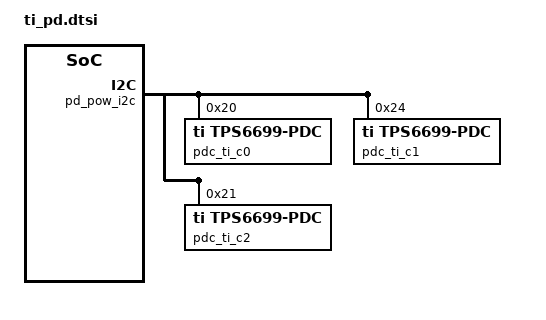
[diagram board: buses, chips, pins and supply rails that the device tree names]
/* Copyright 2026 The ChromiumOS Authors
 * Use of this source code is governed by a BSD-style license that can be
 * found in the LICENSE file.
 */

#include <dt-bindings/gpio_defines.h>

&pd_pow_i2c {
	pdc_ti_c0: tps6699-pdc@20 {
		compatible = "ti,tps6699-pdc";
		reg = <0x20>;
		port-index-on-chip = <0x1>;
		irq-gpios = <PD_POW_IRQ_GPIO GPIO_ACTIVE_LOW>;
		frs-supported;
		ccd;
	};
	pdc_ti_c1: tps6699-pdc@24 {
		compatible = "ti,tps6699-pdc";
		reg = <0x24>;
		port-index-on-chip = <0x2>;
		irq-gpios = <PD_POW_IRQ_GPIO GPIO_ACTIVE_LOW>;
		frs-supported;
		no-fw-update;
	};
	pdc_ti_c2: tps6699-pdc@21 {
		compatible = "ti,tps6699-pdc";
		reg = <0x21>;
		port-index-on-chip = <0x1>;
		irq-gpios = <PD_POW_IRQ_GPIO GPIO_ACTIVE_LOW>;
		frs-supported;
	};
};

&gpio_pdc_pow_irq {
	no-auto-init;
};
